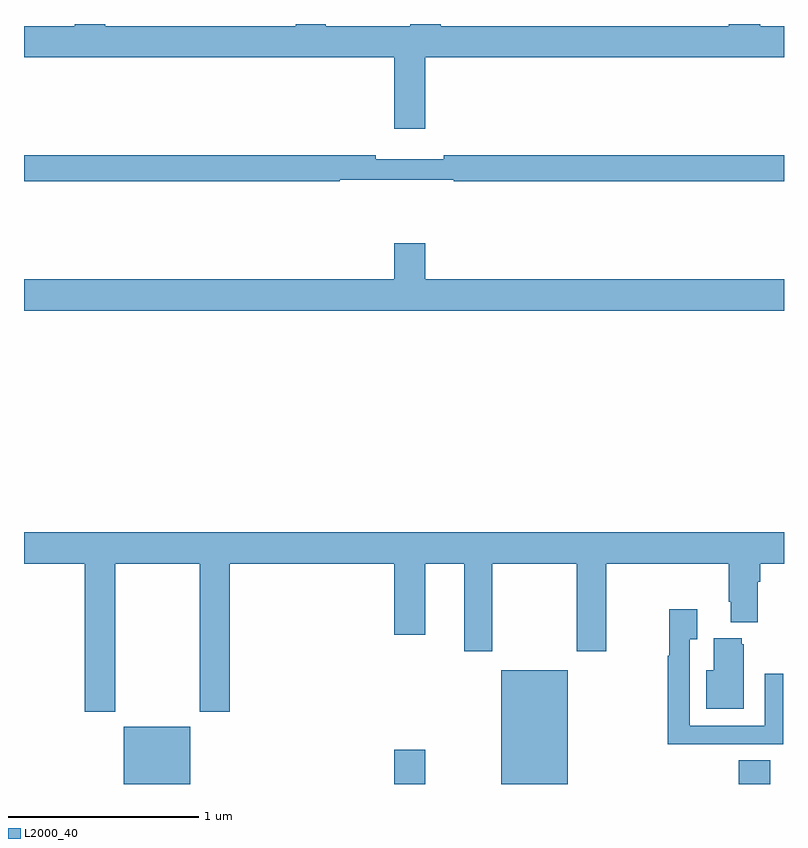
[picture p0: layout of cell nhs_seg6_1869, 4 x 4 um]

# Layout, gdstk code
import gdstk
lib = gdstk.Library(unit=1e-6, precision=1e-09)
def R(c, l, rs):  # rectangles x0, y0, x1, y1
    for r in rs: c.add(gdstk.rectangle(r[:2], r[2:], *l))
def P(c, l, *ps):  # polygons
    for p in ps: c.add(gdstk.Polygon(p, *l))
L2000_40 = (2000, 40)

nhs_seg6_1869 = lib.new_cell('nhs_seg6_1869')
R(nhs_seg6_1869, L2000_40, [(223.526,955.5,223.876,955.801), (224.948,955.5,225.112,955.681), (225.512,955.5,225.862,956.098), (226.763,955.5,226.928,955.625)])
P(nhs_seg6_1869, L2000_40, [(225.112,959.324),(227,959.324),(227,959.488),(226.874,959.488),(226.874,959.5),(226.709,959.5),(226.709,959.488),(225.194,959.488),(225.194,959.5),(225.034,959.5),(225.034,959.488),(224.589,959.488),(224.589,959.5),(224.429,959.5),(224.429,959.488),(223.427,959.488),(223.427,959.5),(223.267,959.5),(223.267,959.488),(223,959.488),(223,959.324),(224.948,959.324),(224.948,958.95),(225.112,958.95)],
  [(224.662,958.68),(225.262,958.68),(225.262,958.672),(227,958.672),(227,958.808),(225.208,958.808),(225.208,958.789),(224.852,958.789),(224.852,958.808),(223,958.808),(223,958.672),(224.662,958.672)],
  [(227,958.156),(225.112,958.156),(225.112,958.345),(224.948,958.345),(224.948,958.156),(223,958.156),(223,957.992),(227,957.992)],
  [(223.479,956.66),(223.924,956.66),(223.924,955.881),(224.084,955.881),(224.084,956.66),(224.948,956.66),(224.948,956.286),(225.112,956.286),(225.112,956.66),(225.317,956.66),(225.317,956.199),(225.465,956.199),(225.465,956.66),(225.91,956.66),(225.91,956.199),(226.065,956.199),(226.065,956.66),(226.709,956.66),(226.709,956.458),(226.721,956.458),(226.721,956.351),(226.861,956.351),(226.861,956.564),(226.874,956.564),(226.874,956.66),(227,956.66),(227,956.824),(223,956.824),(223,956.66),(223.319,956.66),(223.319,955.881),(223.479,955.881)],
  [(226.679,955.71),(226.995,955.71),(226.995,956.08),(226.899,956.08),(226.899,955.806),(226.503,955.806),(226.503,956.263),(226.543,956.263),(226.543,956.419),(226.395,956.419),(226.395,956.174),(226.387,956.174),(226.387,955.709),(226.679,955.709)],
  [(226.789,956.235),(226.778,956.235),(226.778,956.266),(226.631,956.266),(226.631,956.098),(226.592,956.098),(226.592,955.895),(226.789,955.895)])

lib.write_gds('nhs_seg6_1869.gds')
